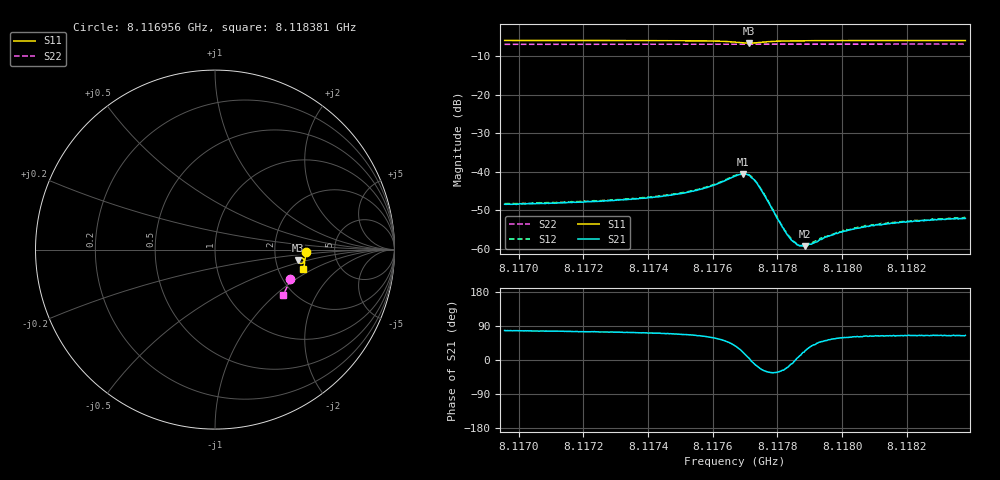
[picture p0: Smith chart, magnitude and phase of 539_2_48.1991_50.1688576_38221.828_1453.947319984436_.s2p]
#  HZ  S  RI  R  50.00
! Rohde & Schwarz Vector Network Analyzer
! Rohde-Schwarz,ZNB20-2Port,1311601062101988,3.16
! Created: UTC 3/20/2024, 12:00:12 PM
! freq[Hz]  re:S11  im:S11  re:S21  im:S21  re:S12  im:S12  re:S22  im:S22
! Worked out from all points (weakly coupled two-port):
!   401 points, 8.116956 GHz to 8.118381 GHz, reference 50 ohm
!   highest |S21| = -40.50 dB at 8.117694 GHz (marker M1); lowest = -59.3 dB at 8.117886 GHz (marker M2)
!   lowest |S11| = -6.6 dB at 8.117711 GHz (marker M3), VSWR 2.76, Z = 134 - j20.7 ohm
!   |S11| at or under -10 dB: nowhere
!   |S22| runs from -6.9 to -6.8 dB; largest |S21 - S12| = 0.00032
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8.116956e9  0.5064 -0.0123  0.000807 0.00372  0.000904 0.00377  0.4198 -0.1656
8.1171947e9  0.5052 -0.0314  0.00105 0.00392  0.00113 0.00399  0.414 -0.1812
8.1173622e9  0.5034 -0.0454  0.00138 0.00424  0.00141 0.0043  0.4096 -0.1921
8.1174335e9  0.502 -0.0519  0.0016 0.00449  0.00171 0.00457  0.4075 -0.1967
8.1175047e9  0.4999 -0.0593  0.002 0.00486  0.00209 0.00497  0.4054 -0.2013
8.1175618e9  0.4971 -0.066  0.00265 0.00533  0.00274 0.00542  0.4038 -0.2051
8.1176152e9  0.4913 -0.0732  0.00391 0.00586  0.00405 0.00592  0.4019 -0.2085
8.1176687e9  0.4763 -0.0772  0.00699 0.00538  0.00715 0.00544  0.3996 -0.2117
8.1176936e9  0.4663 -0.0706  0.00888 0.00321  0.009 0.00327  0.3984 -0.2128
8.1177114e9  0.4636 -0.0604  0.00899 0.000748  0.00914 0.000721  0.3979 -0.2133
8.1177293e9  0.4682 -0.0507  0.00764 -0.0015  0.00773 -0.00152  0.3977 -0.2141
8.1177435e9  0.4749 -0.0468  0.00601 -0.00227  0.00611 -0.00236  0.3979 -0.2147
8.1178148e9  0.4948 -0.0552  0.00173 -0.000877  0.00178 -0.000957  0.3964 -0.2198
8.1178362e9  0.4966 -0.0589  0.00137 -0.000378  0.00142 -0.000409  0.3958 -0.2211
8.1178647e9  0.4979 -0.0633  0.00112 0.000143  0.00111 0.000124  0.395 -0.223
8.1178861e9  0.4984 -0.0663  0.000988 0.000458  0.00102 0.000432  0.3942 -0.2245
8.1179074e9  0.4987 -0.069  0.000927 0.00072  0.000974 0.000707  0.3935 -0.2258
8.1179538e9  0.4988 -0.0742  0.000892 0.00113  0.000883 0.00118  0.3922 -0.2289
8.1180143e9  0.4983 -0.0803  0.000874 0.00149  0.000924 0.00153  0.39 -0.2325
8.1180749e9  0.4977 -0.0858  0.000876 0.00175  0.000914 0.00179  0.3879 -0.2363
8.1181462e9  0.4967 -0.0919  0.000924 0.00192  0.00097 0.00197  0.3856 -0.2407
8.1183814e9  0.4931 -0.1105  0.00106 0.00226  0.00111 0.0023  0.3771 -0.2549
